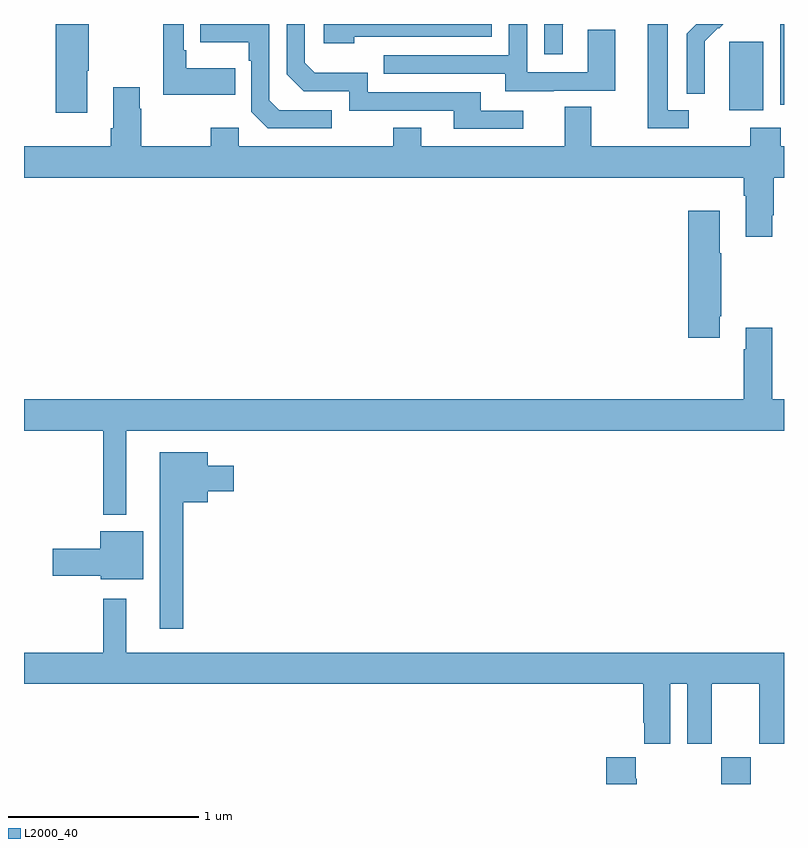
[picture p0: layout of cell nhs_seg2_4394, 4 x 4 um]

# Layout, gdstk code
import gdstk
lib = gdstk.Library(unit=1e-6, precision=1e-09)
def R(c, l, rs):  # rectangles x0, y0, x1, y1
    for r in rs: c.add(gdstk.rectangle(r[:2], r[2:], *l))
def P(c, l, *ps):  # polygons
    for p in ps: c.add(gdstk.Polygon(p, *l))
L2000_40 = (2000, 40)

nhs_seg2_4394 = lib.new_cell('nhs_seg2_4394')
R(nhs_seg2_4394, L2000_40, [(352.669,621.8,352.824,621.94), (352.712,625.346,352.891,625.707), (352.98,625.375,353,625.8)])
P(nhs_seg2_4394, L2000_40, [(351.628,625.344),(351.403,625.344),(351.403,625.44),(350.808,625.44),(350.808,625.543),(350.531,625.543),(350.478,625.596),(350.478,625.8),(350.382,625.8),(350.382,625.536),(350.472,625.446),(350.712,625.446),(350.712,625.344),(351.263,625.344),(351.263,625.248),(351.628,625.248)],
  [(350.62,625.347),(350.343,625.347),(350.292,625.398),(350.292,625.8),(349.927,625.8),(349.927,625.703),(350.184,625.703),(350.184,625.607),(350.196,625.607),(350.196,625.338),(350.283,625.251),(350.62,625.251)],
  [(351.787,625.449),(352.111,625.449),(352.111,625.769),(351.966,625.769),(351.966,625.545),(351.648,625.545),(351.648,625.8),(351.552,625.8),(351.552,625.635),(350.893,625.635),(350.893,625.539),(351.533,625.539),(351.533,625.445),(351.787,625.445)],
  [(351.835,625.797),(351.838,625.8),(351.738,625.8),(351.738,625.641),(351.835,625.641)],
  [(352.498,625.347),(352.387,625.347),(352.387,625.8),(352.283,625.8),(352.283,625.251),(352.498,625.251)],
  [(350.111,625.567),(349.855,625.567),(349.855,625.663),(349.842,625.663),(349.842,625.8),(349.734,625.8),(349.734,625.427),(350.111,625.427)],
  [(349.333,625.555),(349.341,625.555),(349.341,625.8),(349.166,625.8),(349.166,625.332),(349.333,625.332)],
  [(350.738,625.734),(351.462,625.734),(351.462,625.8),(350.577,625.8),(350.577,625.7),(350.738,625.7)],
  [(352.584,625.586),(352.583,625.586),(352.583,625.709),(352.653,625.779),(352.656,625.776),(352.68,625.8),(352.538,625.8),(352.488,625.75),(352.488,625.432),(352.584,625.432)],
  [(352.787,624.896),(352.799,624.896),(352.799,624.681),(352.939,624.681),(352.939,624.793),(352.947,624.793),(352.947,624.992),(353,624.992),(353,625.156),(352.982,625.156),(352.982,625.255),(352.822,625.255),(352.822,625.156),(351.985,625.156),(351.985,625.364),(351.845,625.364),(351.845,625.156),(351.091,625.156),(351.091,625.255),(350.944,625.255),(350.944,625.156),(350.13,625.156),(350.13,625.255),(349.984,625.255),(349.984,625.156),(349.617,625.156),(349.617,625.355),(349.609,625.355),(349.609,625.468),(349.469,625.468),(349.469,625.252),(349.457,625.252),(349.457,625.156),(349,625.156),(349,624.992),(352.787,624.992)],
  [(352.663,624.262),(352.671,624.262),(352.671,624.593),(352.663,624.593),(352.663,624.817),(352.496,624.817),(352.496,624.15),(352.663,624.15)],
  [(349.537,623.66),(353,623.66),(353,623.824),(352.939,623.824),(352.939,624.202),(352.799,624.202),(352.799,624.089),(352.787,624.089),(352.787,623.824),(349,623.824),(349,623.66),(349.416,623.66),(349.416,623.216),(349.537,623.216)],
  [(349.837,623.282),(349.966,623.282),(349.966,623.342),(350.104,623.342),(350.104,623.476),(349.966,623.476),(349.966,623.545),(349.715,623.545),(349.715,622.617),(349.837,622.617)],
  [(349.627,623.131),(349.4,623.131),(349.4,623.039),(349.152,623.039),(349.152,622.897),(349.404,622.897),(349.404,622.877),(349.627,622.877)],
  [(352.402,622.328),(352.49,622.328),(352.49,622.011),(352.621,622.011),(352.621,622.328),(352.871,622.328),(352.871,622.011),(353,622.011),(353,622.492),(349.537,622.492),(349.537,622.774),(349.416,622.774),(349.416,622.492),(349,622.492),(349,622.328),(352.259,622.328),(352.259,622.123),(352.265,622.123),(352.265,622.011),(352.402,622.011)],
  [(352.224,621.827),(352.219,621.827),(352.219,621.94),(352.064,621.94),(352.064,621.8),(352.224,621.8)])

lib.write_gds('nhs_seg2_4394.gds')
